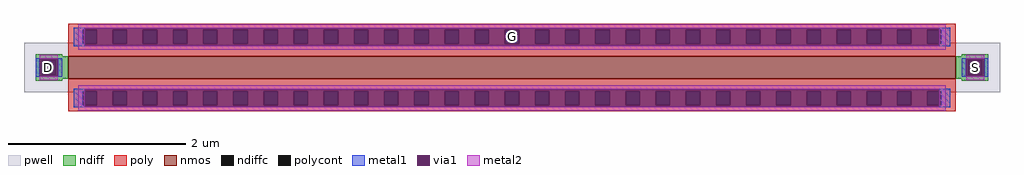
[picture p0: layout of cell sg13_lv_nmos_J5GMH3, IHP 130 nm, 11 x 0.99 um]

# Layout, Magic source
magic
tech ihp-sg13g2
magscale 1 2
<< pwell >>
rect -1100 51 -988 56
rect 988 51 1100 56
rect -1100 -51 1100 51
rect -1100 -56 -988 -51
rect 988 -56 1100 -51
<< nmos >>
rect -1000 -25 1000 25
<< ndiff >>
rect -1074 25 -1014 30
rect 1014 25 1074 30
rect -1074 16 -1000 25
rect -1074 -16 -1060 16
rect -1028 -16 -1000 16
rect -1074 -25 -1000 -16
rect 1000 16 1074 25
rect 1000 -16 1028 16
rect 1060 -16 1074 16
rect 1000 -25 1074 -16
rect -1074 -30 -1014 -25
rect 1014 -30 1074 -25
<< ndiffc >>
rect -1060 -16 -1028 16
rect 1028 -16 1060 16
<< poly >>
rect -1000 85 1000 99
rect -1000 53 -968 85
rect -936 53 -900 85
rect -868 53 -832 85
rect -800 53 -764 85
rect -732 53 -696 85
rect -664 53 -628 85
rect -596 53 -560 85
rect -528 53 -492 85
rect -460 53 -424 85
rect -392 53 -356 85
rect -324 53 -288 85
rect -256 53 -220 85
rect -188 53 -152 85
rect -120 53 -84 85
rect -52 53 -16 85
rect 16 53 52 85
rect 84 53 120 85
rect 152 53 188 85
rect 220 53 256 85
rect 288 53 324 85
rect 356 53 392 85
rect 424 53 460 85
rect 492 53 528 85
rect 560 53 596 85
rect 628 53 664 85
rect 696 53 732 85
rect 764 53 800 85
rect 832 53 868 85
rect 900 53 936 85
rect 968 53 1000 85
rect -1000 25 1000 53
rect -1000 -53 1000 -25
rect -1000 -85 -968 -53
rect -936 -85 -900 -53
rect -868 -85 -832 -53
rect -800 -85 -764 -53
rect -732 -85 -696 -53
rect -664 -85 -628 -53
rect -596 -85 -560 -53
rect -528 -85 -492 -53
rect -460 -85 -424 -53
rect -392 -85 -356 -53
rect -324 -85 -288 -53
rect -256 -85 -220 -53
rect -188 -85 -152 -53
rect -120 -85 -84 -53
rect -52 -85 -16 -53
rect 16 -85 52 -53
rect 84 -85 120 -53
rect 152 -85 188 -53
rect 220 -85 256 -53
rect 288 -85 324 -53
rect 356 -85 392 -53
rect 424 -85 460 -53
rect 492 -85 528 -53
rect 560 -85 596 -53
rect 628 -85 664 -53
rect 696 -85 732 -53
rect 764 -85 800 -53
rect 832 -85 868 -53
rect 900 -85 936 -53
rect 968 -85 1000 -53
rect -1000 -99 1000 -85
<< polycont >>
rect -968 53 -936 85
rect -900 53 -868 85
rect -832 53 -800 85
rect -764 53 -732 85
rect -696 53 -664 85
rect -628 53 -596 85
rect -560 53 -528 85
rect -492 53 -460 85
rect -424 53 -392 85
rect -356 53 -324 85
rect -288 53 -256 85
rect -220 53 -188 85
rect -152 53 -120 85
rect -84 53 -52 85
rect -16 53 16 85
rect 52 53 84 85
rect 120 53 152 85
rect 188 53 220 85
rect 256 53 288 85
rect 324 53 356 85
rect 392 53 424 85
rect 460 53 492 85
rect 528 53 560 85
rect 596 53 628 85
rect 664 53 696 85
rect 732 53 764 85
rect 800 53 832 85
rect 868 53 900 85
rect 936 53 968 85
rect -968 -85 -936 -53
rect -900 -85 -868 -53
rect -832 -85 -800 -53
rect -764 -85 -732 -53
rect -696 -85 -664 -53
rect -628 -85 -596 -53
rect -560 -85 -528 -53
rect -492 -85 -460 -53
rect -424 -85 -392 -53
rect -356 -85 -324 -53
rect -288 -85 -256 -53
rect -220 -85 -188 -53
rect -152 -85 -120 -53
rect -84 -85 -52 -53
rect -16 -85 16 -53
rect 52 -85 84 -53
rect 120 -85 152 -53
rect 188 -85 220 -53
rect 256 -85 288 -53
rect 324 -85 356 -53
rect 392 -85 424 -53
rect 460 -85 492 -53
rect 528 -85 560 -53
rect 596 -85 628 -53
rect 664 -85 696 -53
rect 732 -85 764 -53
rect 800 -85 832 -53
rect 868 -85 900 -53
rect 936 -85 968 -53
<< metal1 >>
rect -988 89 988 90
rect -988 85 -963 89
rect 963 85 988 89
rect -988 53 -968 85
rect 968 53 988 85
rect -988 49 -963 53
rect 963 49 988 53
rect -988 48 988 49
rect -1074 20 -1014 21
rect -1074 -20 -1064 20
rect -1024 -20 -1014 20
rect -1074 -21 -1014 -20
rect 1014 20 1074 21
rect 1014 -20 1024 20
rect 1064 -20 1074 20
rect 1014 -21 1074 -20
rect -988 -49 988 -48
rect -988 -53 -963 -49
rect 963 -53 988 -49
rect -988 -85 -968 -53
rect 968 -85 988 -53
rect -988 -89 -963 -85
rect 963 -89 988 -85
rect -988 -90 988 -89
<< via1 >>
rect -963 85 963 89
rect -963 53 -936 85
rect -936 53 -900 85
rect -900 53 -868 85
rect -868 53 -832 85
rect -832 53 -800 85
rect -800 53 -764 85
rect -764 53 -732 85
rect -732 53 -696 85
rect -696 53 -664 85
rect -664 53 -628 85
rect -628 53 -596 85
rect -596 53 -560 85
rect -560 53 -528 85
rect -528 53 -492 85
rect -492 53 -460 85
rect -460 53 -424 85
rect -424 53 -392 85
rect -392 53 -356 85
rect -356 53 -324 85
rect -324 53 -288 85
rect -288 53 -256 85
rect -256 53 -220 85
rect -220 53 -188 85
rect -188 53 -152 85
rect -152 53 -120 85
rect -120 53 -84 85
rect -84 53 -52 85
rect -52 53 -16 85
rect -16 53 16 85
rect 16 53 52 85
rect 52 53 84 85
rect 84 53 120 85
rect 120 53 152 85
rect 152 53 188 85
rect 188 53 220 85
rect 220 53 256 85
rect 256 53 288 85
rect 288 53 324 85
rect 324 53 356 85
rect 356 53 392 85
rect 392 53 424 85
rect 424 53 460 85
rect 460 53 492 85
rect 492 53 528 85
rect 528 53 560 85
rect 560 53 596 85
rect 596 53 628 85
rect 628 53 664 85
rect 664 53 696 85
rect 696 53 732 85
rect 732 53 764 85
rect 764 53 800 85
rect 800 53 832 85
rect 832 53 868 85
rect 868 53 900 85
rect 900 53 936 85
rect 936 53 963 85
rect -963 49 963 53
rect -1064 16 -1024 20
rect -1064 -16 -1060 16
rect -1060 -16 -1028 16
rect -1028 -16 -1024 16
rect -1064 -20 -1024 -16
rect 1024 16 1064 20
rect 1024 -16 1028 16
rect 1028 -16 1060 16
rect 1060 -16 1064 16
rect 1024 -20 1064 -16
rect -963 -53 963 -49
rect -963 -85 -936 -53
rect -936 -85 -900 -53
rect -900 -85 -868 -53
rect -868 -85 -832 -53
rect -832 -85 -800 -53
rect -800 -85 -764 -53
rect -764 -85 -732 -53
rect -732 -85 -696 -53
rect -696 -85 -664 -53
rect -664 -85 -628 -53
rect -628 -85 -596 -53
rect -596 -85 -560 -53
rect -560 -85 -528 -53
rect -528 -85 -492 -53
rect -492 -85 -460 -53
rect -460 -85 -424 -53
rect -424 -85 -392 -53
rect -392 -85 -356 -53
rect -356 -85 -324 -53
rect -324 -85 -288 -53
rect -288 -85 -256 -53
rect -256 -85 -220 -53
rect -220 -85 -188 -53
rect -188 -85 -152 -53
rect -152 -85 -120 -53
rect -120 -85 -84 -53
rect -84 -85 -52 -53
rect -52 -85 -16 -53
rect -16 -85 16 -53
rect 16 -85 52 -53
rect 52 -85 84 -53
rect 84 -85 120 -53
rect 120 -85 152 -53
rect 152 -85 188 -53
rect 188 -85 220 -53
rect 220 -85 256 -53
rect 256 -85 288 -53
rect 288 -85 324 -53
rect 324 -85 356 -53
rect 356 -85 392 -53
rect 392 -85 424 -53
rect 424 -85 460 -53
rect 460 -85 492 -53
rect 492 -85 528 -53
rect 528 -85 560 -53
rect 560 -85 596 -53
rect 596 -85 628 -53
rect 628 -85 664 -53
rect 664 -85 696 -53
rect 696 -85 732 -53
rect 732 -85 764 -53
rect 764 -85 800 -53
rect 800 -85 832 -53
rect 832 -85 868 -53
rect 868 -85 900 -53
rect 900 -85 936 -53
rect 936 -85 963 -53
rect -963 -89 963 -85
<< metal2 >>
rect -978 89 978 98
rect -978 49 -963 89
rect 963 49 978 89
rect -978 40 978 49
rect -1064 20 -1024 29
rect -1064 -29 -1024 -20
rect 1024 20 1064 29
rect 1024 -29 1064 -20
rect -978 -49 978 -40
rect -978 -89 -963 -49
rect 963 -89 978 -49
rect -978 -98 978 -89
<< labels >>
rlabel metal1 s -1044 0 -1044 0 4 D
rlabel metal1 s 1044 0 1044 0 4 S
rlabel metal1 s 0 69 0 69 4 G
<< end >>
